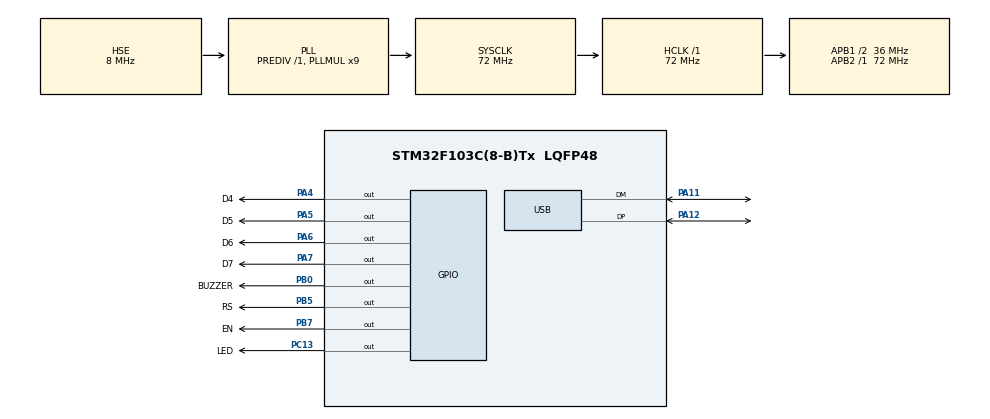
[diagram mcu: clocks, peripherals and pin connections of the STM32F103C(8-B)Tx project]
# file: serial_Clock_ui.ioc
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Mcu.Family=STM32F1
Mcu.Name=STM32F103C(8-B)Tx
Mcu.Package=LQFP48
NVIC.PriorityGroup=NVIC_PRIORITYGROUP_4
NVIC.TIM2_IRQn=true\:0\:0\:false\:false\:true\:true\:true
NVIC.TIM3_IRQn=true\:0\:0\:false\:false\:true\:true\:true
NVIC.USB_LP_CAN1_RX0_IRQn=true\:0\:0\:false\:false\:true\:true\:true
PA11.Mode=Device
PA11.Signal=USB_DM
PA12.Mode=Device
PA12.Signal=USB_DP
PA4.GPIO_Label=D4
PA4.Signal=GPIO_Output
PA5.GPIO_Label=D5
PA5.Signal=GPIO_Output
PA6.GPIO_Label=D6
PA6.Signal=GPIO_Output
PA7.GPIO_Label=D7
PA7.Signal=GPIO_Output
PB0.GPIO_Label=BUZZER
PB0.Signal=GPIO_Output
PB5.GPIO_Label=RS
PB5.Signal=GPIO_Output
PB7.GPIO_Label=EN
PB7.Signal=GPIO_Output
PC13-TAMPER-RTC.GPIO_Label=LED
PC13-TAMPER-RTC.Signal=GPIO_Output
PD0-OSC_IN.Mode=HSE-External-Oscillator
PD0-OSC_IN.Signal=RCC_OSC_IN
PD1-OSC_OUT.Mode=HSE-External-Oscillator
PD1-OSC_OUT.Signal=RCC_OSC_OUT
ProjectManager.HeapSize=0x200
ProjectManager.StackSize=0x400
ProjectManager.TargetToolchain=STM32CubeIDE
RCC.AHBFreq_Value=72000000
RCC.APB1CLKDivider=RCC_HCLK_DIV2
RCC.APB1Freq_Value=36000000
RCC.APB1TimFreq_Value=72000000
RCC.APB2Freq_Value=72000000
RCC.APB2TimFreq_Value=72000000
RCC.HCLKFreq_Value=72000000
RCC.PLLMUL=RCC_PLL_MUL9
RCC.SYSCLKFreq_VALUE=72000000
RCC.SYSCLKSource=RCC_SYSCLKSOURCE_PLLCLK
RCC.USBFreq_Value=48000000
RCC.USBPrescaler=RCC_USBCLKSOURCE_PLL_DIV1_5
TIM1.Period=0xffff-1
TIM1.Prescaler=72-1
TIM2.Period=1000-1
TIM2.Prescaler=7200
TIM3.Period=10000-1
TIM3.Prescaler=7200
USB_DEVICE.CLASS_NAME_FS=CDC
USB_DEVICE.VirtualMode=Cdc
USB_DEVICE.VirtualModeFS=Cdc_FS
VP_SYS_VS_ND.Mode=No_Debug
VP_TIM1_VS_ClockSourceINT.Mode=Internal
VP_TIM2_VS_ClockSourceINT.Mode=Internal
VP_TIM3_VS_ClockSourceINT.Mode=Internal
VP_USB_DEVICE_VS_USB_DEVICE_CDC_FS.Mode=CDC_FS
board=custom

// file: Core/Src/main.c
/* USER CODE BEGIN Header */
/**
  ******************************************************************************
  * @file           : main.c
  * @brief          : Main program body
  ******************************************************************************
  * @attention
  *
  * <h2><center>&copy; Copyright (c) 2021 STMicroelectronics.
  * All rights reserved.</center></h2>
  *
  * This software component is licensed by ST under BSD 3-Clause license,
  * the "License"; You may not use this file except in compliance with the
  * License. You may obtain a copy of the License at:
  *                        opensource.org/licenses/BSD-3-Clause
  *
  ******************************************************************************
  */
/* USER CODE END Header */
#include "main.h"
#include "usb_device.h"

/* USER CODE BEGIN Includes */
#include "LCD1602.h"
/* USER CODE END Includes */

TIM_HandleTypeDef htim1;
TIM_HandleTypeDef htim2;
TIM_HandleTypeDef htim3;

/* USER CODE BEGIN PV */
volatile uint8_t bufferS = 0,bufferM = 0,bufferH = 0;
volatile uint8_t milis = 0;
volatile uint8_t counterM = 1;
volatile uint16_t counterS = 0;
volatile uint16_t counterH = 12;
volatile uint16_t service = 0;
volatile uint8_t reference = 254,reference1 = 0;
uint8_t alarma[3][2] = {{0,0},{0,0},{0,0}};
uint8_t flag = 0,fl = 0;
char hrs[8];
/* USER CODE END PV */

void SystemClock_Config(void);
static void MX_GPIO_Init(void);
static void MX_TIM1_Init(void);
static void MX_TIM2_Init(void);
static void MX_TIM3_Init(void);
/* USER CODE BEGIN PFP */
void runMode(void);
void setAlarma(void);
void alarm(uint8_t f);
void setTime(void);
void chronometer (void);
void temporizador (void);
void buzzer(uint8_t f);
/* USER CODE END PFP */

/* USER CODE BEGIN 0 */
void runMode(void){
	char time[8];
	lcd_put_cur(0, 5);
	lcd_send_string("RUN MODE");
	do{
		sprintf(time,"%02d:%02d:%02d",counterH,counterM,counterS);
		CDC_Transmit_FS(time,8);
		HAL_Delay(250);
	}while(reference != 254 );
	lcd_clear();
	buzzer(1);
}
void setAlarma(void){

}
void alarm(uint8_t f){

}
void setTime(void){
	uint8_t hour,minute;
	uint8_t buffer = 0, buffer1 = 0;
	uint8_t enter = 0;
	buffer = reference;
	while(buffer == 3){
		if (reference == 0)
			enter = 1;
		if (enter == 0){
			hour = reference;
			sprintf(hrs,"%d:%d:%d",hour,counterM,counterS);
			lcd_put_cur(1, 3);
			lcd_send_string(hrs);
		}else if (enter == 1){
			if(buffer1 == 0){
				//CDC_Transmit_FS(chr4,strlen(chr4));
				buffer1 = 1;
			}
			minute = reference;
			sprintf(hrs,"%d:%d:%d",hour,minute,counterS);
			lcd_put_cur(1, 3);
			lcd_send_string(hrs);
		}
		if(reference == 254)
			buffer++;
	}
	counterH = hour;
	counterM = minute;
	lcd_clear();
}
void chronometer (void){
	char time[11];
	uint8_t buffer = 0;
	lcd_put_cur(0, 0);
	lcd_send_string("Chronometer");
	buffer = reference;
	while(buffer == 4){
		switch(reference){
		case 100:
			if(fl == 0){
				lcd_put_cur(0,11);
				lcd_send_string("start");
				milis = 0;
				bufferS = 0;
				bufferM = 0;
				bufferH = 0;
				fl = 1;
			}
			break;
		case 101:
			lcd_put_cur(0,10);
			lcd_send_string("stop!");
			sprintf(time,"%02d:%02d:%02d:%02d",bufferH,bufferM,bufferS,milis);
			CDC_Transmit_FS(time,11);
			fl = 0;
			break;
		case 254:
			buffer++;
		default:
			break;
		}
	}
	lcd_clear();
}
void temporizador (void){

}
/* USER CODE END 0 */

int main(void)
{

  /* MCU Configuration--------------------------------------------------------*/

  /* Reset of all peripherals, Initializes the Flash interface and the Systick. */
  HAL_Init();

  /* Configure the system clock */
  SystemClock_Config();

  /* Initialize all configured peripherals */
  MX_GPIO_Init();
  MX_USB_DEVICE_Init();
  MX_TIM1_Init();
  MX_TIM2_Init();
  MX_TIM3_Init();
  /* USER CODE BEGIN 2 */
  HAL_TIM_Base_Start(&htim1);
  HAL_TIM_Base_Start_IT(&htim2);
  HAL_TIM_Base_Start_IT(&htim3);
  lcd_init ();
  lcd_put_cur(0, 1);
  lcd_send_string("Hello partner!");
  HAL_Delay(2000);
  lcd_clear();
  /* USER CODE END 2 */

  /* Infinite loop */
  /* USER CODE BEGIN WHILE */
  while (1)
  {
	  sprintf(hrs,"%02d:%02d:%02d",counterH,counterM,counterS);
	  lcd_put_cur(1, 4);
	  lcd_send_string(hrs);
	  switch(reference){
	  case 1:
		  buzzer(1);
		  runMode();
		  break;
	  case 2:
		  buzzer(2);
		  setAlarma();
	  	  break;
	  case 3:
		  buzzer(3);
		  setTime();
	 	  break;
	  case 4:
		  buzzer(4);
		  chronometer();
		  break;
	  case 5:
		  buzzer(5);
		  temporizador();
		  break;
 	  default:
 		  break;
	  }
	  if((alarma[0][1] == counterH && alarma[0][2] == counterM)){
		  lcd_put_cur(1, 4);
		  lcd_send_string("alarma!!");
		  buzzer(4);
		  if (alarma[0][1] == counterH)
			  flag = 0;
		  else if (alarma[1][1] == counterH)
			  flag = 1;
		  else
			  flag = 2;
		  while(reference != 200 || reference != 201){
			  CDC_Transmit_FS(reference,1);
		  }
		  if(reference == 200){
			  switch(flag){
			  case 0:
				  alarma[0][1] += 2;
				  break;
			  case 1:
				  alarma[1][1] += 2;
				  break;
			  default:
				  alarma[2][1] += 2;
				  break;
			  }
		  }
		  else if(reference == 201){
			  switch(flag){
			  case 0:
				  alarma[0][0] = 0;
				  alarma[0][1] = 0;
				  break;
			  case 1:
				  alarma[1][0] = 0;
				  alarma[1][1] = 0;
				  break;
			  default:
				  alarma[2][0] = 0;
				  alarma[2][1] = 0;
				  break;
			  }
		  }
		  reference = 254;
	  }
    /* USER CODE END WHILE */

  }
}

void SystemClock_Config(void)
{
  RCC_OscInitTypeDef RCC_OscInitStruct = {0};
  RCC_ClkInitTypeDef RCC_ClkInitStruct = {0};
  RCC_PeriphCLKInitTypeDef PeriphClkInit = {0};

  /** Initializes the RCC Oscillators according to the specified parameters
  * in the RCC_OscInitTypeDef structure.
  */
  RCC_OscInitStruct.OscillatorType = RCC_OSCILLATORTYPE_HSE;
  RCC_OscInitStruct.HSEState = RCC_HSE_ON;
  RCC_OscInitStruct.HSEPredivValue = RCC_HSE_PREDIV_DIV1;
  RCC_OscInitStruct.HSIState = RCC_HSI_ON;
  RCC_OscInitStruct.PLL.PLLState = RCC_PLL_ON;
  RCC_OscInitStruct.PLL.PLLSource = RCC_PLLSOURCE_HSE;
  RCC_OscInitStruct.PLL.PLLMUL = RCC_PLL_MUL9;
  if (HAL_RCC_OscConfig(&RCC_OscInitStruct) != HAL_OK)
  {
    Error_Handler();
  }
  /** Initializes the CPU, AHB and APB buses clocks
  */
  RCC_ClkInitStruct.ClockType = RCC_CLOCKTYPE_HCLK|RCC_CLOCKTYPE_SYSCLK
                              |RCC_CLOCKTYPE_PCLK1|RCC_CLOCKTYPE_PCLK2;
  RCC_ClkInitStruct.SYSCLKSource = RCC_SYSCLKSOURCE_PLLCLK;
  RCC_ClkInitStruct.AHBCLKDivider = RCC_SYSCLK_DIV1;
  RCC_ClkInitStruct.APB1CLKDivider = RCC_HCLK_DIV2;
  RCC_ClkInitStruct.APB2CLKDivider = RCC_HCLK_DIV1;

  if (HAL_RCC_ClockConfig(&RCC_ClkInitStruct, FLASH_LATENCY_2) != HAL_OK)
  {
    Error_Handler();
  }
  PeriphClkInit.PeriphClockSelection = RCC_PERIPHCLK_USB;
  PeriphClkInit.UsbClockSelection = RCC_USBCLKSOURCE_PLL_DIV1_5;
  if (HAL_RCCEx_PeriphCLKConfig(&PeriphClkInit) != HAL_OK)
  {
    Error_Handler();
  }
}

static void MX_TIM1_Init(void)
{

  TIM_ClockConfigTypeDef sClockSourceConfig = {0};
  TIM_MasterConfigTypeDef sMasterConfig = {0};

  htim1.Instance = TIM1;
  htim1.Init.Prescaler = 72-1;
  htim1.Init.CounterMode = TIM_COUNTERMODE_UP;
  htim1.Init.Period = 0xffff-1;
  htim1.Init.ClockDivision = TIM_CLOCKDIVISION_DIV1;
  htim1.Init.RepetitionCounter = 0;
  htim1.Init.AutoReloadPreload = TIM_AUTORELOAD_PRELOAD_DISABLE;
  if (HAL_TIM_Base_Init(&htim1) != HAL_OK)
  {
    Error_Handler();
  }
  sClockSourceConfig.ClockSource = TIM_CLOCKSOURCE_INTERNAL;
  if (HAL_TIM_ConfigClockSource(&htim1, &sClockSourceConfig) != HAL_OK)
  {
    Error_Handler();
  }
  sMasterConfig.MasterOutputTrigger = TIM_TRGO_RESET;
  sMasterConfig.MasterSlaveMode = TIM_MASTERSLAVEMODE_DISABLE;
  if (HAL_TIMEx_MasterConfigSynchronization(&htim1, &sMasterConfig) != HAL_OK)
  {
    Error_Handler();
  }

}

static void MX_TIM2_Init(void)
{

  TIM_ClockConfigTypeDef sClockSourceConfig = {0};
  TIM_MasterConfigTypeDef sMasterConfig = {0};

  htim2.Instance = TIM2;
  htim2.Init.Prescaler = 7200;
  htim2.Init.CounterMode = TIM_COUNTERMODE_UP;
  htim2.Init.Period = 1000-1;
  htim2.Init.ClockDivision = TIM_CLOCKDIVISION_DIV1;
  htim2.Init.AutoReloadPreload = TIM_AUTORELOAD_PRELOAD_DISABLE;
  if (HAL_TIM_Base_Init(&htim2) != HAL_OK)
  {
    Error_Handler();
  }
  sClockSourceConfig.ClockSource = TIM_CLOCKSOURCE_INTERNAL;
  if (HAL_TIM_ConfigClockSource(&htim2, &sClockSourceConfig) != HAL_OK)
  {
    Error_Handler();
  }
  sMasterConfig.MasterOutputTrigger = TIM_TRGO_RESET;
  sMasterConfig.MasterSlaveMode = TIM_MASTERSLAVEMODE_DISABLE;
  if (HAL_TIMEx_MasterConfigSynchronization(&htim2, &sMasterConfig) != HAL_OK)
  {
    Error_Handler();
  }

}

static void MX_TIM3_Init(void)
{

  TIM_ClockConfigTypeDef sClockSourceConfig = {0};
  TIM_MasterConfigTypeDef sMasterConfig = {0};

  htim3.Instance = TIM3;
  htim3.Init.Prescaler = 7200;
  htim3.Init.CounterMode = TIM_COUNTERMODE_UP;
  htim3.Init.Period = 10000-1;
  htim3.Init.ClockDivision = TIM_CLOCKDIVISION_DIV1;
  htim3.Init.AutoReloadPreload = TIM_AUTORELOAD_PRELOAD_DISABLE;
  if (HAL_TIM_Base_Init(&htim3) != HAL_OK)
  {
    Error_Handler();
  }
  sClockSourceConfig.ClockSource = TIM_CLOCKSOURCE_INTERNAL;
  if (HAL_TIM_ConfigClockSource(&htim3, &sClockSourceConfig) != HAL_OK)
  {
    Error_Handler();
  }
  sMasterConfig.MasterOutputTrigger = TIM_TRGO_RESET;
  sMasterConfig.MasterSlaveMode = TIM_MASTERSLAVEMODE_DISABLE;
  if (HAL_TIMEx_MasterConfigSynchronization(&htim3, &sMasterConfig) != HAL_OK)
  {
    Error_Handler();
  }

}

static void MX_GPIO_Init(void)
{
  GPIO_InitTypeDef GPIO_InitStruct = {0};

  /* GPIO Ports Clock Enable */
  __HAL_RCC_GPIOC_CLK_ENABLE();
  __HAL_RCC_GPIOD_CLK_ENABLE();
  __HAL_RCC_GPIOA_CLK_ENABLE();
  __HAL_RCC_GPIOB_CLK_ENABLE();

  /*Configure GPIO pin Output Level */
  HAL_GPIO_WritePin(LED_GPIO_Port, LED_Pin, GPIO_PIN_RESET);

  /*Configure GPIO pin Output Level */
  HAL_GPIO_WritePin(GPIOA, D4_Pin|D5_Pin|D6_Pin|D7_Pin, GPIO_PIN_RESET);

  /*Configure GPIO pin Output Level */
  HAL_GPIO_WritePin(GPIOB, BUZZER_Pin|RS_Pin|EN_Pin, GPIO_PIN_RESET);

  /*Configure GPIO pin : LED_Pin */
  GPIO_InitStruct.Pin = LED_Pin;
  GPIO_InitStruct.Mode = GPIO_MODE_OUTPUT_PP;
  GPIO_InitStruct.Pull = GPIO_NOPULL;
  GPIO_InitStruct.Speed = GPIO_SPEED_FREQ_LOW;
  HAL_GPIO_Init(LED_GPIO_Port, &GPIO_InitStruct);

  /*Configure GPIO pins : D4_Pin D5_Pin D6_Pin D7_Pin */
  GPIO_InitStruct.Pin = D4_Pin|D5_Pin|D6_Pin|D7_Pin;
  GPIO_InitStruct.Mode = GPIO_MODE_OUTPUT_PP;
  GPIO_InitStruct.Pull = GPIO_NOPULL;
  GPIO_InitStruct.Speed = GPIO_SPEED_FREQ_LOW;
  HAL_GPIO_Init(GPIOA, &GPIO_InitStruct);

  /*Configure GPIO pins : BUZZER_Pin RS_Pin EN_Pin */
  GPIO_InitStruct.Pin = BUZZER_Pin|RS_Pin|EN_Pin;
  GPIO_InitStruct.Mode = GPIO_MODE_OUTPUT_PP;
  GPIO_InitStruct.Pull = GPIO_NOPULL;
  GPIO_InitStruct.Speed = GPIO_SPEED_FREQ_LOW;
  HAL_GPIO_Init(GPIOB, &GPIO_InitStruct);

}

/* USER CODE BEGIN 4 */
void HAL_TIM_PeriodElapsedCallback(TIM_HandleTypeDef *htim){
	if(htim->Instance == TIM2){
		milis++;
		if (milis == 10){
			bufferS++;
			milis = 0;
		}
		if(bufferS == 60){
			bufferS = 1;
			bufferM++;
		}
		if(bufferM == 59){
			bufferM = 1;
			bufferH++;
		}
		if(bufferH == 24)
			bufferH = 0;
	}
	if(htim->Instance == TIM3){
		counterS++;
		service++;
		if(counterS == 60){
			counterS = 0;
			counterM++;
		}
		if(counterM == 59){
			counterM = 1;
			counterH++;
		}
		if (counterH == 24){
			counterH = 0;
		}
	}
}
void usbrxcallback(uint8_t* Buf, uint32_t Len){
	reference = Buf[0];
	reference1 = Buf[1];
}
void buzzer(uint8_t f){
	uint8_t i;
	for(i = 0; i<f;i++){
		HAL_GPIO_WritePin(BUZZER_GPIO_Port, BUZZER_Pin, GPIO_PIN_SET);
		HAL_Delay(200);
		HAL_GPIO_WritePin(BUZZER_GPIO_Port, BUZZER_Pin, GPIO_PIN_RESET);
		HAL_Delay(200);
	}
}
/* USER CODE END 4 */

void Error_Handler(void)
{
  __disable_irq();
  while (1)
  {
  }
}

/************************ (C) COPYRIGHT STMicroelectronics *****END OF FILE****/
